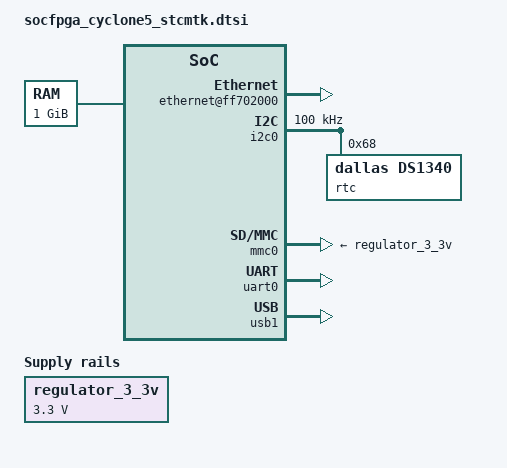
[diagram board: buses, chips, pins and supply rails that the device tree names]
#include "socfpga_cyclone5.dtsi"
#include <dt-bindings/input/input.h>
#include <dt-bindings/interrupt-controller/irq.h>
#include <dt-bindings/gpio/gpio.h>

/ {
	compatible = "altr,socfpga-cyclone5", "altr,socfpga";
	
	chosen {
		bootargs = "console=ttyS0,115200";
	};
	
	memory {
		name = "memory";
		device_type = "memory";
		reg = <0x0 0x40000000>; /* 1GB */
	};

	aliases {
		/* this allow the ethaddr uboot environmnet variable contents
		 * to be added to the gmac1 device tree blob.
		 */
		ethernet0 = &gmac1;

		/* This code makes i2c busses appear in sysfs numbered in a
		 * predictable and strict order */
		i2c0 = &i2c0;
		i2c1 = &i2c1;
	};

	regulator_3_3v: 3-3-v-regulator {
		compatible = "regulator-fixed";
		regulator-name = "3.3V";
		regulator-min-microvolt = <3300000>;
		regulator-max-microvolt = <3300000>;
	};

	soc {
		ethernet@ff702000 {
			phy-addr = <0xffffffff>; /* probe for phy addr */
			status = "okay";
		};
		
		gpio0: gpio@ff708000 {
			status = "okay";
		};

		gpio1: gpio@ff709000 {
			status = "okay";
		};

		gpio2: gpio@ff70a000 {
			status = "okay";
		};
		
		i2c0: i2c@ffc04000 {
			status = "okay";
			speed-mode = <0>;
			i2c-sda-falling-time-ns = <5000>;
			i2c-scl-falling-time-ns = <5000>;
			i2c-sda-hold-time-ns = <300>;
			clock-frequency = <100000>;

			rtc@68 {
				compatible = "dallas,ds1340";
				reg = <0x68>;
				status = "okay";
			};
		};
		
		i2c1: i2c@ffc05000 {
			speed-mode = <0>;
			i2c-sda-falling-time-ns = <5000>;
			i2c-scl-falling-time-ns = <5000>;
			i2c-sda-hold-time-ns = <300>;
			clock-frequency = <100000>;
		};

		pmu {
			cti0: cti0@ff118000 {
				status = "okay";
			};

			cti1: cti1@ff119000 {
				status = "disabled";
			};
		};
		
		fpga: fpgamgr-etn {
			compatible = "stcmtk,etn-fpga-mgr";
			reg = <0xC0000000 0xffff>;
			altr-fpga-mgr = <&fpgamgr0>;
		};

		fpga-io {
			compatible = "stcmtk,etn-io";
			target-fpga = <&fpga>;
		};
		
		etn-port0 {
			compatible = "etn,net,netdma";
			etn,port-num = <0>;
			interrupts = <0x0 0x28 0x1 0x0 0x29 0x1>;
		};

		etn-port1 {
			compatible = "etn,net,netdma";
			etn,port-num = <1>;
			interrupts = <0x0 0x2A 0x1 0x0 0x2B 0x1>;
		};

		etn-phc@0 {
			compatible = "etn,phc";
			stcmtk,port-num = <0>;
			reg = <0xc0006000 36>;
			interrupts = <0x0 0x2C 0x1>;
			target-fpga = <&fpga>;
		};

		etn-phc@1 {
			compatible = "etn,phc";
			stcmtk,port-num = <1>;
			reg = <0xc0006080 36>;
			interrupts = <0x0 0x2D 0x1>;
			target-fpga = <&fpga>;
		};

		etn-phc-mux {
			compatible = "etn,phc-mux";
			reg = <0xc0006100 4>;
			target-fpga = <&fpga>;
		};
	};
};

&fpgamgr0 {
	compatible = "altr,socfpga-fpga-mgr";
	reg = <0xff706000 0x1000 0xffb90000 0x1000>;
	interrupts = <0x0 0xaf 0x4>;
};

&mmc0 {
	vmmc-supply = <&regulator_3_3v>;
	vqmmc-supply = <&regulator_3_3v>;
	status = "okay";
};

&uart0 {
	status = "okay";
};

&usb1 {
	status = "okay";
};
